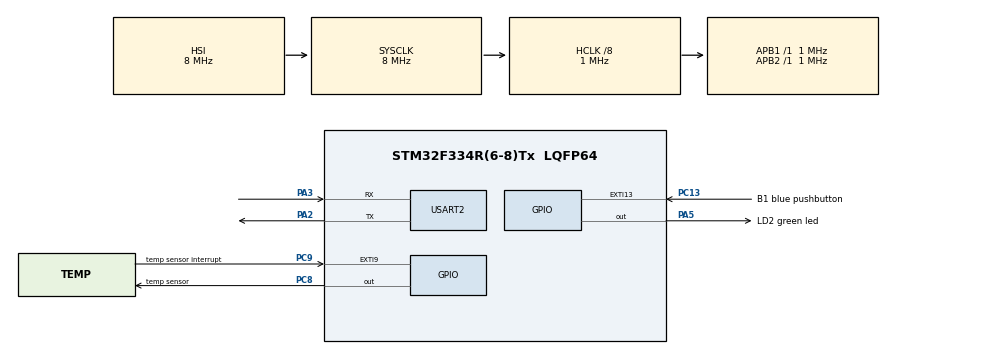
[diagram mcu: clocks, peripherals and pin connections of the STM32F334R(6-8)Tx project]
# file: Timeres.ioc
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Mcu.Family=STM32F3
Mcu.Name=STM32F334R(6-8)Tx
Mcu.Package=LQFP64
NVIC.PriorityGroup=NVIC_PRIORITYGROUP_4
PA13.Signal=SYS_JTMS-SWDIO
PA14.Signal=SYS_JTCK-SWCLK
PA2.Mode=Asynchronous
PA2.Signal=USART2_TX
PA3.Mode=Asynchronous
PA3.Signal=USART2_RX
PA5.GPIO_Label=LD2 green led
PA5.Signal=GPIO_Output
PB3.Signal=SYS_JTDO-TRACESWO
PC13.GPIO_Label=B1 blue pushbutton
PC13.GPIO_ModeDefaultEXTI=GPIO_MODE_IT_FALLING
PC13.GPIO_PuPd=GPIO_NOPULL
PC13.Signal=GPXTI13
PC14\ /\ OSC32_IN.Mode=LSE-External-Oscillator
PC14\ /\ OSC32_IN.Signal=RCC_OSC32_IN
PC15\ /\ OSC32_OUT.Mode=LSE-External-Oscillator
PC15\ /\ OSC32_OUT.Signal=RCC_OSC32_OUT
PC8.GPIO_Label=temp sensor
PC8.GPIO_PuPd=GPIO_PULLUP
PC8.Signal=GPIO_Output
PC9.GPIO_Label=temp sensor interrupt
PC9.GPIO_ModeDefaultEXTI=GPIO_MODE_IT_FALLING
PC9.Signal=GPXTI9
PF0\ /\ OSC_IN.Mode=HSE-External-Oscillator
PF0\ /\ OSC_IN.Signal=RCC_OSC_IN
PF1\ /\ OSC_OUT.Mode=HSE-External-Oscillator
PF1\ /\ OSC_OUT.Signal=RCC_OSC_OUT
ProjectManager.HeapSize=0x200
ProjectManager.StackSize=0x400
ProjectManager.TargetToolchain=MDK-ARM V5
RCC.AHBCLKDivider=RCC_SYSCLK_DIV8
RCC.AHBFreq_Value=1000000
RCC.APB1Freq_Value=1000000
RCC.APB1TimFreq_Value=1000000
RCC.APB2Freq_Value=1000000
RCC.APB2TimFreq_Value=1000000
RCC.CortexFreq_Value=1000000
RCC.HCLKFreq_Value=1000000
RCC.HSE_VALUE=8000000
RCC.HSI_VALUE=8000000
RCC.SYSCLKFreq_VALUE=8000000
TIM6.Prescaler=0
USART2.VirtualMode-Asynchronous=VM_ASYNC
VP_TIM6_VS_ClockSourceINT.Mode=Enable_Timer
VP_TIM7_VS_ClockSourceINT.Mode=Enable_Timer
board=custom

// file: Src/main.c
/**
  ******************************************************************************
  * @file           : main.c
  * @brief          : Main program body
  ******************************************************************************
  ** This notice applies to any and all portions of this file
  * that are not between comment pairs USER CODE BEGIN and
  * USER CODE END. Other portions of this file, whether
  * inserted by the user or by software development tools
  * are owned by their respective copyright owners.
  *
  * COPYRIGHT(c) 2019 STMicroelectronics
  *
  * Redistribution and use in source and binary forms, with or without modification,
  * are permitted provided that the following conditions are met:
  *   1. Redistributions of source code must retain the above copyright notice,
  *      this list of conditions and the following disclaimer.
  *   2. Redistributions in binary form must reproduce the above copyright notice,
  *      this list of conditions and the following disclaimer in the documentation
  *      and/or other materials provided with the distribution.
  *   3. Neither the name of STMicroelectronics nor the names of its contributors
  *      may be used to endorse or promote products derived from this software
  *      without specific prior written permission.
  *
  * THIS SOFTWARE IS PROVIDED BY THE COPYRIGHT HOLDERS AND CONTRIBUTORS "AS IS"
  * AND ANY EXPRESS OR IMPLIED WARRANTIES, INCLUDING, BUT NOT LIMITED TO, THE
  * IMPLIED WARRANTIES OF MERCHANTABILITY AND FITNESS FOR A PARTICULAR PURPOSE ARE
  * DISCLAIMED. IN NO EVENT SHALL THE COPYRIGHT HOLDER OR CONTRIBUTORS BE LIABLE
  * FOR ANY DIRECT, INDIRECT, INCIDENTAL, SPECIAL, EXEMPLARY, OR CONSEQUENTIAL
  * DAMAGES (INCLUDING, BUT NOT LIMITED TO, PROCUREMENT OF SUBSTITUTE GOODS OR
  * SERVICES; LOSS OF USE, DATA, OR PROFITS; OR BUSINESS INTERRUPTION) HOWEVER
  * CAUSED AND ON ANY THEORY OF LIABILITY, WHETHER IN CONTRACT, STRICT LIABILITY,
  * OR TORT (INCLUDING NEGLIGENCE OR OTHERWISE) ARISING IN ANY WAY OUT OF THE USE
  * OF THIS SOFTWARE, EVEN IF ADVISED OF THE POSSIBILITY OF SUCH DAMAGE.
  *
  ******************************************************************************
  */
#include "main.h"
#include "string.h"
#include "stm32f3xx_hal.h"

TIM_HandleTypeDef htim6;
TIM_HandleTypeDef htim7;

UART_HandleTypeDef huart2;

/* USER CODE BEGIN PV */
/* Private variables ---------------------------------------------------------*/

/* USER CODE END PV */

void SystemClock_Config(void);
static void MX_GPIO_Init(void);
static void MX_TIM6_Init(void);
static void MX_TIM7_Init(void);
static void MX_USART2_UART_Init(void);

/* USER CODE BEGIN PFP */
/* Private function prototypes -----------------------------------------------*/

/* USER CODE END PFP */

/* USER CODE BEGIN 0 */
void printOutEnter(uint8_t a[]);
void printOut(uint8_t a[]);
void HAL_GPIO_EXTI_Callback(uint16_t GPIO_Pin);
/* USER CODE END 0 */

int main(void)
{

  /* MCU Configuration----------------------------------------------------------*/

  /* Reset of all peripherals, Initializes the Flash interface and the Systick. */
  HAL_Init();

  /* Configure the system clock */
  SystemClock_Config();

  /* USER CODE BEGIN SysInit */

	//a számok amiket itt hozzáadunk a fele az eredetiknek mert fos és megduplázza de nem tudjuk méééééért

	uint16_t* tim6 = (uint16_t*)0x40001000;
	uint16_t* tim6_cr1 = (uint16_t*)0x40001000 + 0x00;	//control_1 - vezérlö regiszterek
	uint16_t* tim6_cr2 = (uint16_t*)0x40001000 + 0x02;
	uint16_t* tim6_arr = tim6 + 0x0E; //auto reload - ezt tölti be kezdö értékként
	uint16_t* tim6_psc = tim6 + 0x14;	//prescale - frekvencia osztó
	uint16_t* tim6_cnt = tim6 + 0x12;	//counter - számláló értéke
	uint16_t* tim6_egr = tim6 + 0x0A; //event generation - írásával újratölti
  /* USER CODE END SysInit */

  /* Initialize all configured peripherals */
  MX_GPIO_Init();
  MX_TIM6_Init();
  MX_TIM7_Init();
  MX_USART2_UART_Init();
  /* USER CODE BEGIN 2 */
	uint8_t a[8];
	uint32_t before =0;
	uint32_t time = 0;
  /* USER CODE END 2 */

  /* Infinite loop */
  while (1)
  {
		//
	time = * tim6_cnt;//HAL_GetTick();
		//for(int i=0; i<16; i++)

		for(int i=0; i<8; i++)
		{
			a[i] = time >> 4*(7-i);
			a[i] = a[i] & 0x0F;
			if(a[i]<0x0A)
				a[i] += 0x30;

			else
				a[i] += 0x37;

		}
			printOutEnter(a);
		before = time;
		HAL_Delay(1000);
  }

}

void SystemClock_Config(void)
{

  RCC_OscInitTypeDef RCC_OscInitStruct;
  RCC_ClkInitTypeDef RCC_ClkInitStruct;

    /**Initializes the CPU, AHB and APB busses clocks
    */
  RCC_OscInitStruct.OscillatorType = RCC_OSCILLATORTYPE_HSI;
  RCC_OscInitStruct.HSIState = RCC_HSI_ON;
  RCC_OscInitStruct.HSICalibrationValue = 16;
  RCC_OscInitStruct.PLL.PLLState = RCC_PLL_NONE;
  if (HAL_RCC_OscConfig(&RCC_OscInitStruct) != HAL_OK)
  {
    _Error_Handler(__FILE__, __LINE__);
  }

    /**Initializes the CPU, AHB and APB busses clocks
    */
  RCC_ClkInitStruct.ClockType = RCC_CLOCKTYPE_HCLK|RCC_CLOCKTYPE_SYSCLK
                              |RCC_CLOCKTYPE_PCLK1|RCC_CLOCKTYPE_PCLK2;
  RCC_ClkInitStruct.SYSCLKSource = RCC_SYSCLKSOURCE_HSI;
  RCC_ClkInitStruct.AHBCLKDivider = RCC_SYSCLK_DIV8;
  RCC_ClkInitStruct.APB1CLKDivider = RCC_HCLK_DIV1;
  RCC_ClkInitStruct.APB2CLKDivider = RCC_HCLK_DIV1;

  if (HAL_RCC_ClockConfig(&RCC_ClkInitStruct, FLASH_LATENCY_0) != HAL_OK)
  {
    _Error_Handler(__FILE__, __LINE__);
  }

    /**Configure the Systick interrupt time
    */
  HAL_SYSTICK_Config(HAL_RCC_GetHCLKFreq()/1000);

    /**Configure the Systick
    */
  HAL_SYSTICK_CLKSourceConfig(SYSTICK_CLKSOURCE_HCLK);

  /* SysTick_IRQn interrupt configuration */
  HAL_NVIC_SetPriority(SysTick_IRQn, 0, 0);
}

/* TIM6 init function */
static void MX_TIM6_Init(void)
{

  TIM_MasterConfigTypeDef sMasterConfig;

  htim6.Instance = TIM6;
  htim6.Init.Prescaler = 1000;
  htim6.Init.CounterMode = TIM_COUNTERMODE_UP;
  htim6.Init.Period = 0x0fff;
  htim6.Init.AutoReloadPreload = TIM_AUTORELOAD_PRELOAD_ENABLE;
  if (HAL_TIM_Base_Init(&htim6) != HAL_OK)
  {
    _Error_Handler(__FILE__, __LINE__);
  }

  sMasterConfig.MasterOutputTrigger = TIM_TRGO_RESET;
  sMasterConfig.MasterSlaveMode = TIM_MASTERSLAVEMODE_DISABLE;
  if (HAL_TIMEx_MasterConfigSynchronization(&htim6, &sMasterConfig) != HAL_OK)
  {
    _Error_Handler(__FILE__, __LINE__);
  }

}

/* TIM7 init function */
static void MX_TIM7_Init(void)
{

  TIM_MasterConfigTypeDef sMasterConfig;

  htim7.Instance = TIM7;
  htim7.Init.Prescaler = 0;
  htim7.Init.CounterMode = TIM_COUNTERMODE_UP;
  htim7.Init.Period = 0;
  htim7.Init.AutoReloadPreload = TIM_AUTORELOAD_PRELOAD_DISABLE;
  if (HAL_TIM_Base_Init(&htim7) != HAL_OK)
  {
    _Error_Handler(__FILE__, __LINE__);
  }

  sMasterConfig.MasterOutputTrigger = TIM_TRGO_RESET;
  sMasterConfig.MasterSlaveMode = TIM_MASTERSLAVEMODE_DISABLE;
  if (HAL_TIMEx_MasterConfigSynchronization(&htim7, &sMasterConfig) != HAL_OK)
  {
    _Error_Handler(__FILE__, __LINE__);
  }

}

/* USART2 init function */
static void MX_USART2_UART_Init(void)
{

  huart2.Instance = USART2;
  huart2.Init.BaudRate = 9600;
  huart2.Init.WordLength = UART_WORDLENGTH_8B;
  huart2.Init.StopBits = UART_STOPBITS_1;
  huart2.Init.Parity = UART_PARITY_NONE;
  huart2.Init.Mode = UART_MODE_TX_RX;
  huart2.Init.HwFlowCtl = UART_HWCONTROL_NONE;
  huart2.Init.OverSampling = UART_OVERSAMPLING_16;
  huart2.Init.OneBitSampling = UART_ONE_BIT_SAMPLE_DISABLE;
  huart2.AdvancedInit.AdvFeatureInit = UART_ADVFEATURE_NO_INIT;
  if (HAL_UART_Init(&huart2) != HAL_OK)
  {
    _Error_Handler(__FILE__, __LINE__);
  }

}

/** Configure pins as
        * Analog
        * Input
        * Output
        * EVENT_OUT
        * EXTI
*/
static void MX_GPIO_Init(void)
{

  GPIO_InitTypeDef GPIO_InitStruct;

  /* GPIO Ports Clock Enable */
  __HAL_RCC_GPIOC_CLK_ENABLE();
  __HAL_RCC_GPIOF_CLK_ENABLE();
  __HAL_RCC_GPIOA_CLK_ENABLE();
  __HAL_RCC_GPIOB_CLK_ENABLE();

  /*Configure GPIO pin Output Level */
  HAL_GPIO_WritePin(LD2_green_led_GPIO_Port, LD2_green_led_Pin, GPIO_PIN_RESET);

  /*Configure GPIO pin Output Level */
  HAL_GPIO_WritePin(temp_sensor_GPIO_Port, temp_sensor_Pin, GPIO_PIN_RESET);

  /*Configure GPIO pins : B1_blue_pushbutton_Pin temp_sensor_interrupt_Pin */
  GPIO_InitStruct.Pin = B1_blue_pushbutton_Pin|temp_sensor_interrupt_Pin;
  GPIO_InitStruct.Mode = GPIO_MODE_IT_FALLING;
  GPIO_InitStruct.Pull = GPIO_NOPULL;
  HAL_GPIO_Init(GPIOC, &GPIO_InitStruct);

  /*Configure GPIO pin : LD2_green_led_Pin */
  GPIO_InitStruct.Pin = LD2_green_led_Pin;
  GPIO_InitStruct.Mode = GPIO_MODE_OUTPUT_PP;
  GPIO_InitStruct.Pull = GPIO_NOPULL;
  GPIO_InitStruct.Speed = GPIO_SPEED_FREQ_LOW;
  HAL_GPIO_Init(LD2_green_led_GPIO_Port, &GPIO_InitStruct);

  /*Configure GPIO pin : temp_sensor_Pin */
  GPIO_InitStruct.Pin = temp_sensor_Pin;
  GPIO_InitStruct.Mode = GPIO_MODE_OUTPUT_PP;
  GPIO_InitStruct.Pull = GPIO_PULLUP;
  GPIO_InitStruct.Speed = GPIO_SPEED_FREQ_LOW;
  HAL_GPIO_Init(temp_sensor_GPIO_Port, &GPIO_InitStruct);

}

/* USER CODE BEGIN 4 */

/*void HAL_GPIO_EXTI_Callback(uint16_t GPIO_Pin)
{
    if ( GPIO_Pin == GPIO_PIN_9)
    {
        if(){
				}
    }
}*/

void printOut(uint8_t a[]){

	for(int i=0; i<strlen((char*)a); i++)
	{
		HAL_UART_Transmit(&huart2, &a[i] , 1, 10);
	}

}

void printOutEnter(uint8_t a[]){
	uint8_t enter[] = "\r\n";
	for(int i=0; i<strlen((char*)a); i++)
	{
		HAL_UART_Transmit(&huart2, &a[i] , 1, 10);
	}

	HAL_UART_Transmit(&huart2, enter , 2, 10);
}
/* USER CODE END 4 */

void _Error_Handler(char *file, int line)
{
  while(1)
  {
  }
}

/************************ (C) COPYRIGHT STMicroelectronics *****END OF FILE****/
